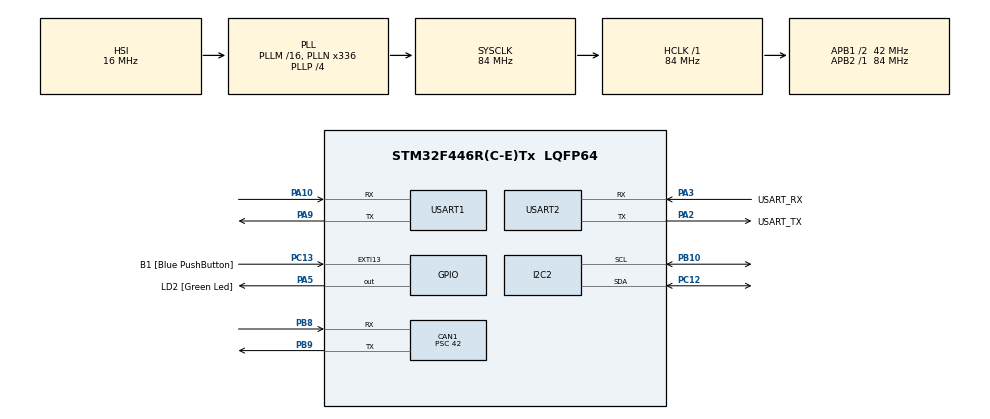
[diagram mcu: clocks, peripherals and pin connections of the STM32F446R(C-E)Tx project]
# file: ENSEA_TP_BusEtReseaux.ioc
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CAN1.BS1=CAN_BS1_8TQ
CAN1.CalculateBaudRate=100000
CAN1.CalculateTimeBit=10000
CAN1.CalculateTimeQuantum=1000.0
CAN1.Prescaler=42
Dma.Request0=USART1_RX
Dma.Request1=USART1_TX
Dma.USART1_RX.0.Direction=DMA_PERIPH_TO_MEMORY
Dma.USART1_RX.0.FIFOMode=DMA_FIFOMODE_DISABLE
Dma.USART1_RX.0.Instance=DMA2_Stream2
Dma.USART1_RX.0.MemDataAlignment=DMA_MDATAALIGN_BYTE
Dma.USART1_RX.0.MemInc=DMA_MINC_ENABLE
Dma.USART1_RX.0.Mode=DMA_NORMAL
Dma.USART1_RX.0.PeriphDataAlignment=DMA_PDATAALIGN_BYTE
Dma.USART1_RX.0.PeriphInc=DMA_PINC_DISABLE
Dma.USART1_RX.0.Priority=DMA_PRIORITY_LOW
Dma.USART1_TX.1.Direction=DMA_MEMORY_TO_PERIPH
Dma.USART1_TX.1.FIFOMode=DMA_FIFOMODE_DISABLE
Dma.USART1_TX.1.Instance=DMA2_Stream7
Dma.USART1_TX.1.MemDataAlignment=DMA_MDATAALIGN_BYTE
Dma.USART1_TX.1.MemInc=DMA_MINC_ENABLE
Dma.USART1_TX.1.Mode=DMA_NORMAL
Dma.USART1_TX.1.PeriphDataAlignment=DMA_PDATAALIGN_BYTE
Dma.USART1_TX.1.PeriphInc=DMA_PINC_DISABLE
Dma.USART1_TX.1.Priority=DMA_PRIORITY_LOW
Mcu.Family=STM32F4
Mcu.Name=STM32F446R(C-E)Tx
Mcu.Package=LQFP64
NVIC.DMA2_Stream2_IRQn=true\:0\:0\:false\:false\:true\:false\:true\:true
NVIC.DMA2_Stream7_IRQn=true\:0\:0\:false\:false\:true\:false\:true\:true
NVIC.PriorityGroup=NVIC_PRIORITYGROUP_0
NVIC.USART1_IRQn=true\:0\:0\:false\:false\:true\:true\:true\:true
NVIC.USART2_IRQn=true\:0\:0\:false\:false\:true\:true\:true\:true
PA10.Mode=Asynchronous
PA10.Signal=USART1_RX
PA13.GPIO_Label=TMS
PA13.Mode=Serial_Wire
PA13.Signal=SYS_JTMS-SWDIO
PA14.GPIO_Label=TCK
PA14.Mode=Serial_Wire
PA14.Signal=SYS_JTCK-SWCLK
PA2.GPIO_Label=USART_TX
PA2.Mode=Asynchronous
PA2.Signal=USART2_TX
PA3.GPIO_Label=USART_RX
PA3.Mode=Asynchronous
PA3.Signal=USART2_RX
PA5.GPIO_Label=LD2 [Green Led]
PA5.Signal=GPIO_Output
PA9.Mode=Asynchronous
PA9.Signal=USART1_TX
PB10.Mode=I2C
PB10.Signal=I2C2_SCL
PB3.GPIO_Label=SWO
PB3.Signal=SYS_JTDO-SWO
PB8.Mode=CAN_Activate
PB8.Signal=CAN1_RX
PB9.Mode=CAN_Activate
PB9.Signal=CAN1_TX
PC12.Mode=I2C
PC12.Signal=I2C2_SDA
PC13.GPIO_Label=B1 [Blue PushButton]
PC13.GPIO_ModeDefaultEXTI=GPIO_MODE_IT_FALLING
PC13.Signal=GPXTI13
PC14-OSC32_IN.Mode=LSE-External-Oscillator
PC14-OSC32_IN.Signal=RCC_OSC32_IN
PC15-OSC32_OUT.Mode=LSE-External-Oscillator
PC15-OSC32_OUT.Signal=RCC_OSC32_OUT
PH0-OSC_IN.Mode=HSE-External-Oscillator
PH0-OSC_IN.Signal=RCC_OSC_IN
PH1-OSC_OUT.Mode=HSE-External-Oscillator
PH1-OSC_OUT.Signal=RCC_OSC_OUT
ProjectManager.HeapSize=0x200
ProjectManager.StackSize=0x400
ProjectManager.TargetToolchain=STM32CubeIDE
RCC.48MHZClocksFreq_Value=84000000
RCC.AHBFreq_Value=84000000
RCC.APB1CLKDivider=RCC_HCLK_DIV2
RCC.APB1Freq_Value=42000000
RCC.APB1TimFreq_Value=84000000
RCC.APB2Freq_Value=84000000
RCC.APB2TimFreq_Value=84000000
RCC.CortexFreq_Value=84000000
RCC.FLatency-AdvancedSettings=FLASH_LATENCY_2
RCC.HCLKFreq_Value=84000000
RCC.HSE_VALUE=8000000
RCC.HSI_VALUE=16000000
RCC.PLLN=336
RCC.PLLP=RCC_PLLP_DIV4
RCC.SYSCLKFreq_VALUE=84000000
RCC.SYSCLKSource=RCC_SYSCLKSOURCE_PLLCLK
RCC.USBFreq_Value=168000000
RCC.VCOOutputFreq_Value=336000000
USART1.VirtualMode=VM_ASYNC
USART2.VirtualMode=VM_ASYNC
board=NUCLEO-F446RE

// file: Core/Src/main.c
/* USER CODE BEGIN Header */
/**
 ******************************************************************************
 * @file           : main.c
 * @brief          : Main program body
 ******************************************************************************
 * @attention
 *
 * Copyright (c) 2022 STMicroelectronics.
 * All rights reserved.
 *
 * This software is licensed under terms that can be found in the LICENSE file
 * in the root directory of this software component.
 * If no LICENSE file comes with this software, it is provided AS-IS.
 *
 ******************************************************************************
 */
/* USER CODE END Header */
#include "main.h"
#include "can.h"
#include "dma.h"
#include "i2c.h"
#include "usart.h"
#include "gpio.h"

/* USER CODE BEGIN Includes */
#include <stdio.h>
#include <stdlib.h>
#include "BMP280.h"
/* USER CODE END Includes */

/* USER CODE BEGIN PD */

#define RPI_BUFFER_SIZE 			20
/* USER CODE END PD */

/* USER CODE BEGIN PV */
char Buff_Rpi_Rx[RPI_BUFFER_SIZE];
char Buff_Rpi_Tx[RPI_BUFFER_SIZE];
uint8_t waitingTransmit = 0;
char miniBuff[1];
uint8_t cnt = 0;
uint8_t data[3];
/* USER CODE END PV */

void SystemClock_Config(void);

/* USER CODE BEGIN 0 */
void HAL_UART_RxCpltCallback(UART_HandleTypeDef *huart){
	if(huart->Instance == USART1){
		if(Buff_Rpi_Rx[1] == 'E' && Buff_Rpi_Rx[2] == 'T' && Buff_Rpi_Rx[3] == '_'){
			uint8_t Tx_Size;
			if(Buff_Rpi_Rx[0] == 'G'){

				switch(Buff_Rpi_Rx[4]){
				case 'T' :
					Tx_Size = sprintf(Buff_Rpi_Tx,"T=%4.2f_C\r\n",-3.4);//BMPget_Temp()
					break;
				case 'P' :
					Tx_Size = sprintf(Buff_Rpi_Tx,"P=%uPa\r\n",rand()%200000);//BMPget_Press();
					break;
				case 'K' :
					Tx_Size = sprintf(Buff_Rpi_Tx,"T=%10.5f\r\n",((float)(rand()%50))/(rand()%10));//BMPget_CoefK();
					break;
				case 'A' :
					Tx_Size = sprintf(Buff_Rpi_Tx,"T=%10.6f\r\n",((float)(rand()%2024))/(rand()%10));//BMPget_Angle();
					break;
				}
				HAL_UART_Transmit_DMA(&huart1, Buff_Rpi_Tx, Tx_Size);
			}else if(Buff_Rpi_Rx[0] == 'S' && Buff_Rpi_Rx[4] == 'K' && Buff_Rpi_Rx[5] == '='){
				Tx_Size = sprintf(Buff_Rpi_Tx,"SET_K=OK\r\n");
				HAL_UART_Transmit_DMA(&huart1, Buff_Rpi_Tx, Tx_Size);
			}
			cnt = 0;
		}

		HAL_UART_Receive_DMA(&huart1, miniBuff, 1);
	}
}
/* USER CODE END 0 */

int main(void)
{

  /* MCU Configuration--------------------------------------------------------*/

  /* Reset of all peripherals, Initializes the Flash interface and the Systick. */
  HAL_Init();

  /* Configure the system clock */
  SystemClock_Config();

  /* Initialize all configured peripherals */
  MX_GPIO_Init();
  MX_DMA_Init();
  MX_USART2_UART_Init();
  MX_USART1_UART_Init();
  MX_CAN1_Init();
  MX_I2C2_Init();
  /* USER CODE BEGIN 2 */

  uint8_t * msg;

	uint8_t Registre[1] = {0xD0};
	uint8_t data[3];
	HAL_I2C_Master_Transmit(&hi2c2, ADD_BMP280, Registre, 1, HAL_MAX_DELAY);
	HAL_I2C_Master_Receive(&hi2c2, ADD_BMP280, data, 1, HAL_MAX_DELAY);
	printf("%x\r\n",data[0]);

	HAL_Delay(100);

	uint8_t Config[2] = {0xF5,
			BMP_MODE_NORMAL | BMP_SAMPLING_16 << BMP_CONFIG_P | BMP_SAMPLING_2 << BMP_CONFIG_T};
	HAL_I2C_Master_Transmit(&hi2c2, ADD_BMP280, Config, 2, HAL_MAX_DELAY);

	//BMP280_init();

	/*
	HAL_I2C_Master_Transmit(&hi2c1, ADD_BMP280, Config, 1, HAL_MAX_DELAY);
	HAL_I2C_Master_Receive(&hi2c1, ADD_BMP280, data, 1, HAL_MAX_DELAY);
	printf("%x",data[0]);
	HAL_Delay(10);
	 */
	char Temp[1] = {0xFA};
	//HAL_UART_Receive_DMA(&huart1, Buff_Rpi_Rx, 5);

	HAL_CAN_Start(&hcan1);

	CAN_TxHeaderTypeDef Header = {0};
	Header.StdId = 0x61;
	Header.IDE = CAN_ID_STD;
	Header.RTR = CAN_RTR_DATA;
	Header.DLC = 2;
	Header.TransmitGlobalTime = DISABLE;
	HAL_StatusTypeDef Retour;

	uint32_t MailBox;

	uint8_t TxData[2] = {0x54,0x01};
	/*
	if( 0 != HAL_I2C_Master_Transmit(&hi2c2, ADD_BMP280, Temp, 1, HAL_MAX_DELAY)){
		printf("ERROR Tx");
	}
	if(0 != HAL_I2C_Master_Receive(&hi2c2, ADD_BMP280, data, 3, HAL_MAX_DELAY)){
		printf("ERROR Rx");
	}
	uint8_t init = data[2]>>4;
	uint32_t init32 = (int32_t)((data[0])<<12) | (int32_t)((data[1])<<4) | (int32_t)((data[2])>>4);
	uint32_t test32;
  /* USER CODE END 2 */

  /* Infinite loop */
  /* USER CODE BEGIN WHILE */
	while (1)
	{
		printf("HELLO");
		Retour = HAL_CAN_AddTxMessage(&hcan1, &Header, TxData, &MailBox);
		  //while(HAL_CAN_IsTxMessagePending(&hcan1, &MailBox));
		printf('MSG de retour = %d\r\n',Retour);
		  HAL_Delay(1000);
		  TxData[1] = 0x00;
		  Retour = HAL_CAN_AddTxMessage(&hcan1, &Header, TxData, &MailBox);
		  //while(HAL_CAN_IsTxMessagePending(&hcan1, &MailBox));
		  printf('MSG de retour = %d\r\n',Retour);
		  HAL_Delay(1000);
		  TxData[1] = 0x01;

		/*
		if( 0 != HAL_I2C_Master_Transmit(&hi2c2, ADD_BMP280, Temp, 1, HAL_MAX_DELAY)){
			printf("ERROR Tx");
		}
		if(0 != HAL_I2C_Master_Receive(&hi2c2, ADD_BMP280, data, 3, HAL_MAX_DELAY)){
			printf("ERROR Rx");
		}
		printf("Temp : %d \r\n",(int32_t)((data[0])<<12) | (int32_t)((data[1])<<4) | (int32_t)((data[2])>>4));
		test32 = (int32_t)((data[0])<<12) | (int32_t)((data[1])<<4) | (int32_t)((data[2])>>4);
		if(test32>init32){
			TxData[1] = 0x00;
			//TxData[0] = ((uint8_t)(abs((int)(data[2] - init))))<<2;
		}else{
			TxData[1] = 0x01;
			//TxData[0] = ((uint8_t)(abs((int)(data[2] - init))))<<2;
		}

		if(0 != HAL_CAN_AddTxMessage(&hcan1, &Header, TxData, &MailBox)){
				printf("ERROR CAN");
			}
		HAL_Delay(1000);
		/*
		HAL_UART_Receive(&huart1,Buff_Rpi_Rx,1,HAL_MAX_DELAY);
		HAL_UART_Transmit(&huart1,Buff_Rpi_Rx,1,HAL_MAX_DELAY);
    /* USER CODE END WHILE */

	}
}

void SystemClock_Config(void)
{
  RCC_OscInitTypeDef RCC_OscInitStruct = {0};
  RCC_ClkInitTypeDef RCC_ClkInitStruct = {0};

  /** Configure the main internal regulator output voltage
  */
  __HAL_RCC_PWR_CLK_ENABLE();
  __HAL_PWR_VOLTAGESCALING_CONFIG(PWR_REGULATOR_VOLTAGE_SCALE3);

  /** Initializes the RCC Oscillators according to the specified parameters
  * in the RCC_OscInitTypeDef structure.
  */
  RCC_OscInitStruct.OscillatorType = RCC_OSCILLATORTYPE_HSI;
  RCC_OscInitStruct.HSIState = RCC_HSI_ON;
  RCC_OscInitStruct.HSICalibrationValue = RCC_HSICALIBRATION_DEFAULT;
  RCC_OscInitStruct.PLL.PLLState = RCC_PLL_ON;
  RCC_OscInitStruct.PLL.PLLSource = RCC_PLLSOURCE_HSI;
  RCC_OscInitStruct.PLL.PLLM = 16;
  RCC_OscInitStruct.PLL.PLLN = 336;
  RCC_OscInitStruct.PLL.PLLP = RCC_PLLP_DIV4;
  RCC_OscInitStruct.PLL.PLLQ = 2;
  RCC_OscInitStruct.PLL.PLLR = 2;
  if (HAL_RCC_OscConfig(&RCC_OscInitStruct) != HAL_OK)
  {
    Error_Handler();
  }

  /** Initializes the CPU, AHB and APB buses clocks
  */
  RCC_ClkInitStruct.ClockType = RCC_CLOCKTYPE_HCLK|RCC_CLOCKTYPE_SYSCLK
                              |RCC_CLOCKTYPE_PCLK1|RCC_CLOCKTYPE_PCLK2;
  RCC_ClkInitStruct.SYSCLKSource = RCC_SYSCLKSOURCE_PLLCLK;
  RCC_ClkInitStruct.AHBCLKDivider = RCC_SYSCLK_DIV1;
  RCC_ClkInitStruct.APB1CLKDivider = RCC_HCLK_DIV2;
  RCC_ClkInitStruct.APB2CLKDivider = RCC_HCLK_DIV1;

  if (HAL_RCC_ClockConfig(&RCC_ClkInitStruct, FLASH_LATENCY_2) != HAL_OK)
  {
    Error_Handler();
  }
}

void Error_Handler(void)
{
	__disable_irq();
	while (1)
	{
	}
}
